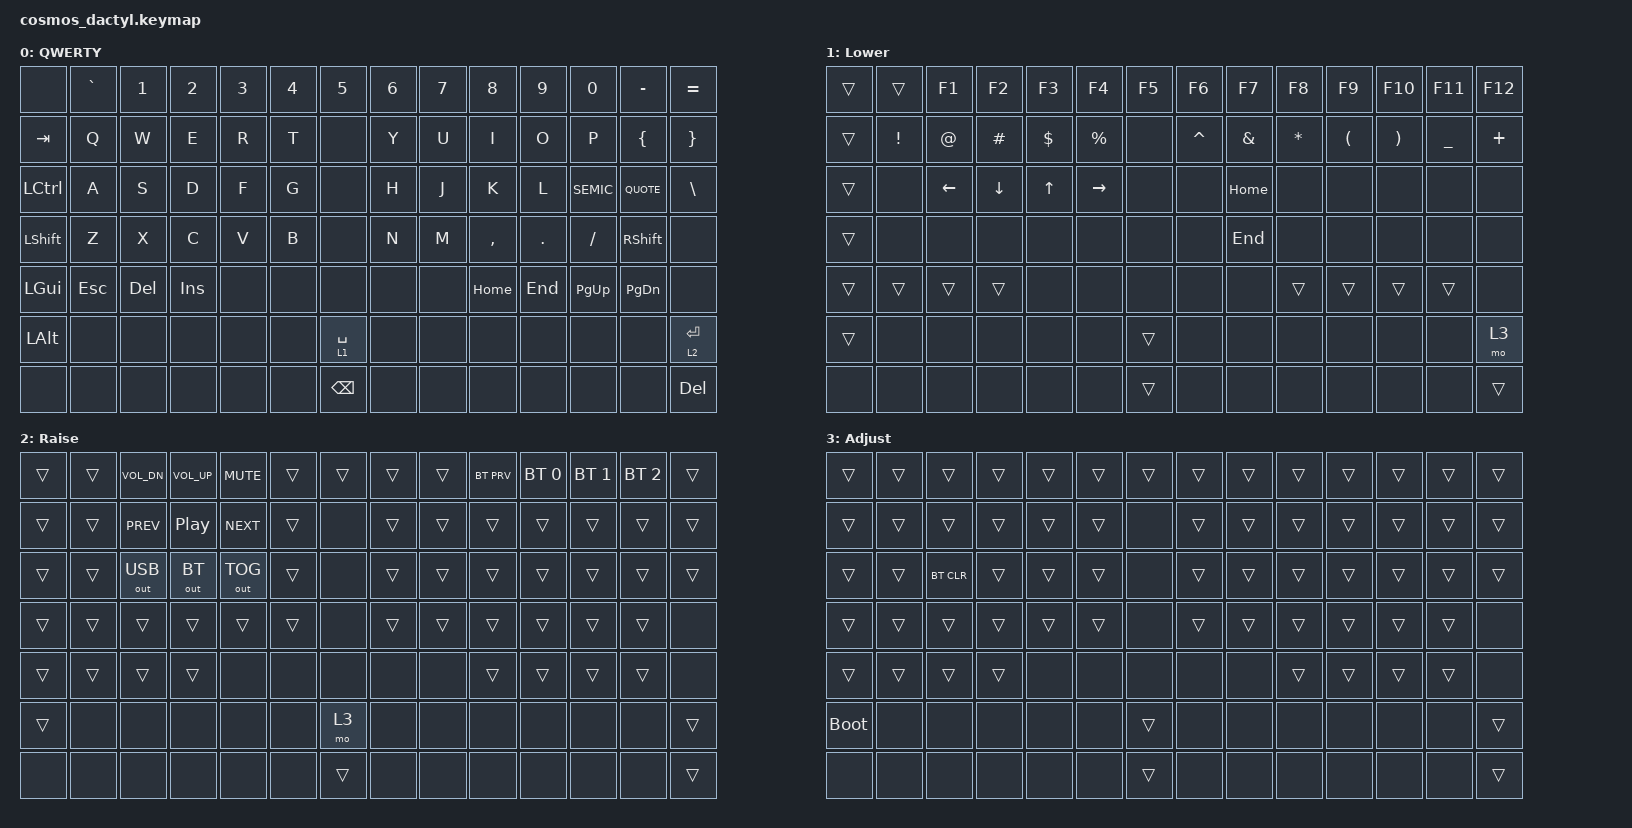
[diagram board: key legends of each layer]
/*
 * Copyright (c) 2024 The ZMK Contributors
 *
 * SPDX-License-Identifier: MIT
 *
 * Cosmos Dactyl QWERTY Keymap
 *
 * ─── Physical Layout ───
 * Reference: boards/shields/cosmos_dactyl/cosmos_dactyl-layouts.dtsi
 *   layout_0 defines 69 physical key positions (indices 0-68).
 *   Positions 0-51  = Main 5-row alpha cluster (5 rows × variable cols)
 *   Positions 52-60 = Left thumb cluster (9 keys)
 *   Positions 61-68 = Right thumb cluster (8 keys)
 *
 * ─── Matrix (this keymap) ───
 * 7 rows × 14 columns = 98 positions, using RC(row,col) bindings.
 *   Left half:  cols 0-6, rows 0-6
 *   Right half: cols 7-13, rows 0-6 (col-offset=7)
 * Assumed column-to-finger mapping (may need adjustment):
 *   Left:  L0=pko  L1=pki  L2=ring  L3=mid  L4=idx-i  L5=idx-o  L6=thumb
 *   Right: R7=idx-i  R8=idx-o  R9=mid  R10=ring  R11=pki  R12=pko  R13=thumb
 * Positions without physical keys = &none.
 *
 * ─── If keys map to wrong RC positions ───
 * Press a key, see what character appears, then swap that key's row/col
 * entry in the bindings array below to the correct position.
 *
 * ─── Layers ───
 * Default: QWERTY alphas + number row + modifiers
 * Lower:   Symbols, F-keys, navigation (hold SPACE)
 * Raise:   Media controls, BT profiles (hold ENTER)
 * Adjust:  Bootloader (hold SPACE + ENTER)
 */

#include <behaviors.dtsi>
#include <dt-bindings/zmk/keys.h>
#include <dt-bindings/zmk/bt.h>
#include <dt-bindings/zmk/outputs.h>

/ {
    behaviors {
        /* Tap for key, hold for momentary layer */
        l_lower: l_lower {
            compatible = "zmk,behavior-hold-tap";
            label = "L_LOWER";
            #binding-cells = <2>;
            tapping-term-ms = <200>;
            flavor = "tap-preferred";
            bindings = <&mo>, <&kp>;
        };
        l_raise: l_raise {
            compatible = "zmk,behavior-hold-tap";
            label = "L_RAISE";
            #binding-cells = <2>;
            tapping-term-ms = <200>;
            flavor = "tap-preferred";
            bindings = <&mo>, <&kp>;
        };
    };

    keymap {
        compatible = "zmk,keymap";

        /* ════════════════════════════════════════════
           DEFAULT LAYER — QWERTY
           ════════════════════════════════════════════ */
        default_layer {
            label = "QWERTY";
            bindings = <
/* Row 0 (number row)          ─layout pos 0-7─ */
/*  col0          col1          col2          col3          col4          col5          col6          col7          col8          col9          col10         col11         col12         col13          */
    &none         &kp GRAVE     &kp N1        &kp N2        &kp N3        &kp N4        &kp N5        &kp N6        &kp N7        &kp N8        &kp N9        &kp N0        &kp MINUS     &kp EQUAL
/* Row 1 (QWERTY top)          ─layout pos 8-19─ */
    &kp TAB       &kp Q         &kp W         &kp E         &kp R         &kp T         &none         &kp Y         &kp U         &kp I         &kp O         &kp P         &kp LBRC      &kp RBRC
/* Row 2 (home row)            ─layout pos 20-31─ */
    &kp LCTRL     &kp A         &kp S         &kp D         &kp F         &kp G         &none         &kp H         &kp J         &kp K         &kp L         &kp SEMIC     &kp QUOTE     &kp BSLH
/* Row 3 (QWERTY bottom)       ─layout pos 32-43─ */
    &kp LSHFT     &kp Z         &kp X         &kp C         &kp V         &kp B         &none         &kp N         &kp M         &kp COMMA     &kp DOT       &kp FSLH      &kp RSHFT     &none
/* Row 4 (bottom nav/mod keys) ─layout pos 44-51─ */
    &kp LGUI      &kp ESC       &kp DEL       &kp INS       &none         &none         &none         &none         &none         &kp HOME      &kp END       &kp PG_UP     &kp PG_DN     &none
/* Row 5 (thumbs top)          ─layout pos 52-55, 65-68─ */
    &kp LALT      &none         &none         &none         &none         &none         &l_lower 1 SPACE &none       &none         &none         &none         &none         &none         &l_raise 2 ENTER
/* Row 6 (thumbs bottom)       ─layout pos 56-64─ */
    &none         &none         &none         &none         &none         &none         &kp BSPC      &none         &none         &none         &none         &none         &none         &kp DELETE
            >;
        };

        /* ─── HOME ROW MOD TEMPLATES (experimental) ───
           Uncomment the rows below and comment out the default layer's Row 2
           to enable home-row mod-tap (hold for modifier, tap for key).
           Adjust tapping-term-ms and flavor to your preference.

           Row 2 (home row with mod-tap):
           &kp LCTRL     &mt LSHFT A   &mt LGUI S    &mt LALT D    &kp F         &kp G         &none         &kp H         &kp J         &mt LALT K    &mt LGUI L    &mt RSHFT SEMIC &kp QUOTE     &kp BSLH

           Note: Key-repeating may change with home row mods.
           Consider using "balanced" flavor if tap-preferred feels off.
        */

        /* ════════════════════════════════════════════
           LOWER LAYER — Symbols, F-keys, Navigation
           Hold SPACE (left thumb) to activate.
           Tap ENTER on this layer (right thumb) for Adjust.
           ════════════════════════════════════════════ */
        lower_layer {
            label = "Lower";
            bindings = <
/* Row 0            ── F-keys ── */
    &trans        &trans        &kp F1        &kp F2        &kp F3        &kp F4        &kp F5        &kp F6        &kp F7        &kp F8        &kp F9        &kp F10       &kp F11       &kp F12
/* Row 1            ── Shifted symbol row ── */
    &trans        &kp EXCL      &kp AT        &kp HASH      &kp DLLR      &kp PRCNT     &none         &kp CARET     &kp AMPS      &kp STAR      &kp LPAR      &kp RPAR      &kp UNDER     &kp PLUS
/* Row 2            ── Navigation (arrows) ── */
    &trans        &none         &kp LEFT      &kp DOWN      &kp UP        &kp RIGHT     &none         &none         &kp HOME      &none         &none         &none         &none         &none
/* Row 3            ── Additional nav ── */
    &trans        &none         &none         &none         &none         &none         &none         &none         &kp END       &none         &none         &none         &none         &none
/* Row 4 */
    &trans        &trans        &trans        &trans        &none         &none         &none         &none         &none         &trans        &trans        &trans        &trans        &none
/* Row 5 */
    &trans        &none         &none         &none         &none         &none         &trans        &none         &none         &none         &none         &none         &none         &mo 3
/* Row 6 */
    &none         &none         &none         &none         &none         &none         &trans        &none         &none         &none         &none         &none         &none         &trans
            >;
        };

        /* ════════════════════════════════════════════
           RAISE LAYER — Media & BT Controls
           Hold ENTER (right thumb) to activate.
           Tap SPACE on this layer (left thumb) for Adjust.
           ════════════════════════════════════════════ */
        raise_layer {
            label = "Raise";
            bindings = <
/* Row 0            ── Media / BT ── */
    &trans        &trans        &kp C_VOL_DN  &kp C_VOL_UP  &kp C_MUTE    &trans        &trans        &trans        &trans        &bt BT_PRV   &bt BT_SEL 0  &bt BT_SEL 1  &bt BT_SEL 2  &trans
/* Row 1            ── Track controls ── */
    &trans        &trans        &kp C_PREV    &kp C_PP      &kp C_NEXT    &trans        &none         &trans        &trans        &trans        &trans        &trans        &trans        &trans
/* Row 2            ── Output selection ── */
    &trans        &trans        &out OUT_USB  &out OUT_BT   &out OUT_TOG  &trans        &none         &trans        &trans        &trans        &trans        &trans        &trans        &trans
/* Row 3 */
    &trans        &trans        &trans        &trans        &trans        &trans        &none         &trans        &trans        &trans        &trans        &trans        &trans        &none
/* Row 4 */
    &trans        &trans        &trans        &trans        &none         &none         &none         &none         &none         &trans        &trans        &trans        &trans        &none
/* Row 5 */
    &trans        &none         &none         &none         &none         &none         &mo 3         &none         &none         &none         &none         &none         &none         &trans
/* Row 6 */
    &none         &none         &none         &none         &none         &none         &trans        &none         &none         &none         &none         &none         &none         &trans
            >;
        };

        /* ════════════════════════════════════════════
           ADJUST LAYER — Bootloader / Config
           Hold SPACE + ENTER (both thumbs) to activate.
           ════════════════════════════════════════════ */
        adjust_layer {
            label = "Adjust";
            bindings = <
/* Row 0 */
    &trans        &trans        &trans        &trans        &trans        &trans        &trans        &trans        &trans        &trans        &trans        &trans        &trans        &trans
/* Row 1 */
    &trans        &trans        &trans        &trans        &trans        &trans        &none         &trans        &trans        &trans        &trans        &trans        &trans        &trans
/* Row 2 */
    &trans        &trans        &bt BT_CLR    &trans        &trans        &trans        &none         &trans        &trans        &trans        &trans        &trans        &trans        &trans
/* Row 3 */
    &trans        &trans        &trans        &trans        &trans        &trans        &none         &trans        &trans        &trans        &trans        &trans        &trans        &none
/* Row 4 */
    &trans        &trans        &trans        &trans        &none         &none         &none         &none         &none         &trans        &trans        &trans        &trans        &none
/* Row 5 ── Bootloader on left thumb column */
    &bootloader   &none         &none         &none         &none         &none         &trans        &none         &none         &none         &none         &none         &none         &trans
/* Row 6 */
    &none         &none         &none         &none         &none         &none         &trans        &none         &none         &none         &none         &none         &none         &trans
            >;
        };
    };
};
